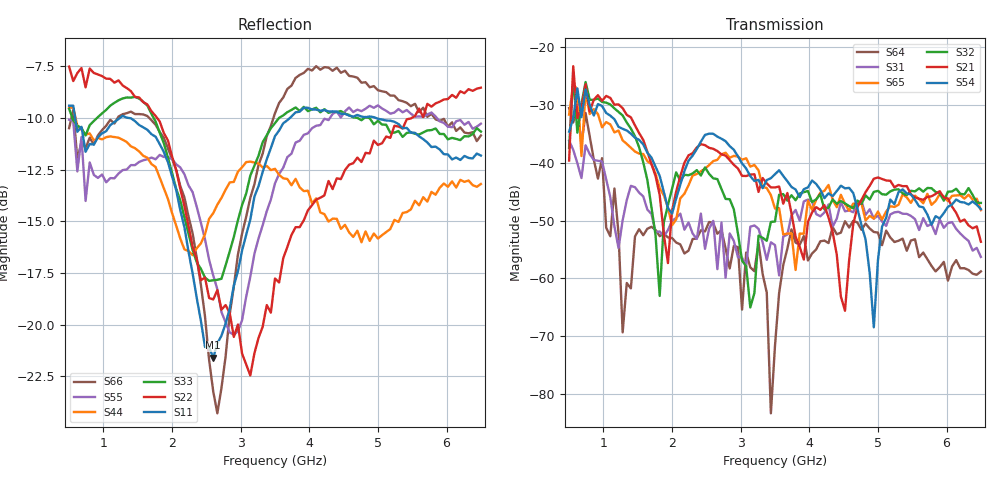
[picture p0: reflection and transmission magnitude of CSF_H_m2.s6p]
!Keysight Technologies,M9804A,MY58100912,A.14.10.03
!Date: Thursday, April 27, 2023 10:28:33
!Correction: S11(C  6-Port  )
!S12(C  6-Port  )
!S13(C  6-Port  )
!S14(C  6-Port  )
!S15(C  6-Port  )
!S16(C  6-Port  )
!S21(C  6-Port  )
!S22(C  6-Port  )
!S23(C  6-Port  )
!S24(C  6-Port  )
!S25(C  6-Port  )
!S26(C  6-Port  )
!S31(C  6-Port  )
!S32(C  6-Port  )
!S33(C  6-Port  )
!S34(C  6-Port  )
!S35(C  6-Port  )
!S36(C  6-Port  )
!S41(C  6-Port  )
!S42(C  6-Port  )
!S43(C  6-Port  )
!S44(C  6-Port  )
!S45(C  6-Port  )
!S46(C  6-Port  )
!S51(C  6-Port  )
!S52(C  6-Port  )
!S53(C  6-Port  )
!S54(C  6-Port  )
!S55(C  6-Port  )
!S56(C  6-Port  )
!S61(C  6-Port  )
!S62(C  6-Port  )
!S63(C  6-Port  )
!S64(C  6-Port  )
!S65(C  6-Port  )
!S66(C  6-Port  )
!S6P File: Measurement: :
# Hz S  RI  R 50
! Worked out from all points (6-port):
!   101 points, 500 MHz to 6.5 GHz, reference 50 ohm
!   strongest paths, dB at 500 MHz, 2 GHz, 3.5 GHz, 5 GHz, 6.5 GHz:
!     S54: -34.6, -48.8, -41.9, -56.8, -48.0
!     S21: -39.6, -48.3, -44.2, -42.5, -53.6
!     S32: -37.4, -44.5, -50.1, -44.8, -46.9
!     S65: -31.6, -50.8, -47.9, -48.4, -48.2
!     S31: -36.2, -50.0, -54.2, -49.2, -56.3
!     S64: -30.5, -53.0, -71.6, -52.1, -58.8
!   lowest |S11| = -21.6 dB at 2.6 GHz (marker M1), VSWR 1.18, Z = 42.6 + j2.06 ohm
!   |S11| at or under -10 dB: 588.6 MHz to 1.238 GHz (649.1 MHz wide, 71.1 % of centre); 1.383 GHz to 3.715 GHz (2.332 GHz wide, 91.5 % of centre); 4.975 GHz to end of sweep
